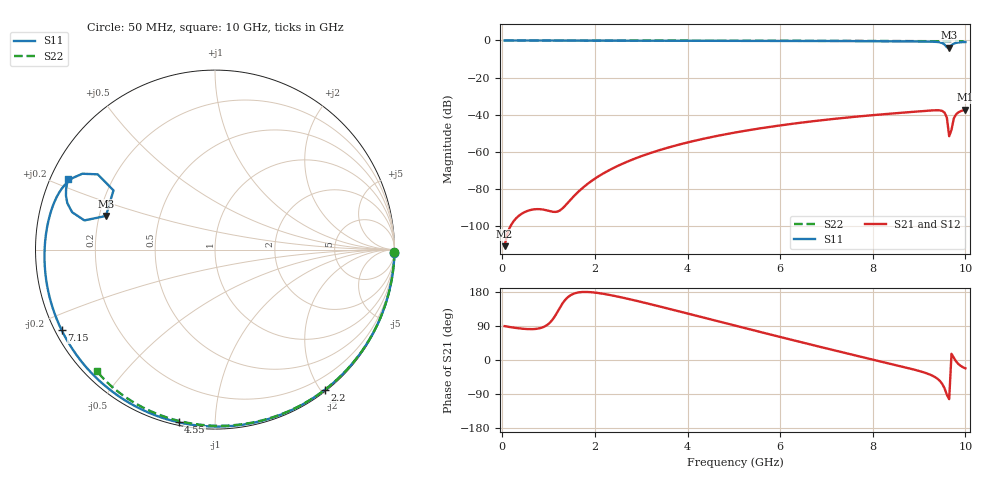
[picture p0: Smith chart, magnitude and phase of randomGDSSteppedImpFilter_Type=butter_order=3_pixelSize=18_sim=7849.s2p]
! freq	dB(S11)	phase(S11)	dB(S12)	phase(S12)
!  dB(S21)	phase(S21)	dB(S22)	phase(S22)
!S-par simulation data
#  GHz  S  DB  R 50
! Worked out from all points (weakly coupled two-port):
!   200 points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, 50 MHz to 10 GHz, reference 50 ohm
!   highest |S21| = -37.33 dB at 10 GHz (marker M1); lowest = -110.9 dB at 50 MHz (marker M2)
!   lowest |S11| = -3.9 dB at 9.65 GHz (marker M3), VSWR 4.50, Z = 11.4 + j7.15 ohm
!   |S11| at or under -10 dB: nowhere
!   |S22| runs from -0.5 to 0.0 dB; largest |S21 - S12| = 0
!   S11 on the Smith chart (normalised r, x): 50 MHz: 0, -94; 2.2 GHz: 0.02, -2.05; 4.55 GHz: 0.01, -0.81; 7.15 GHz: 0.02, -0.25; 10 GHz: 0.05, +0.23
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0.05  -0.00 -1.2  -110.87 89.3  -110.87 89.3  -0.00 -0.8
0.85  -0.03 -20.5  -91.04 85.2  -91.04 85.2  -0.02 -13.0
1.7  -0.05 -40.5  -80.23 179.1  -80.23 179.1  -0.03 -25.8
1.75  -0.05 -41.7  -79.15 179.5  -79.15 179.5  -0.03 -26.5
2.2  -0.07 -51.9  -71.40 174.3  -71.40 174.3  -0.04 -33.2
2.75  -0.08 -64.2  -64.80 160.4  -64.80 160.4  -0.05 -41.2
3.4  -0.10 -78.2  -59.07 141.2  -59.07 141.2  -0.07 -50.5
4.55  -0.15 -101.9  -51.90 105.6  -51.90 105.6  -0.10 -66.3
5.05  -0.17 -111.8  -49.52 90.0  -49.52 90.0  -0.11 -73.0
6.7  -0.27 -143.6  -43.56 39.6  -43.56 39.6  -0.18 -94.1
7.15  -0.31 -152.3  -42.30 26.1  -42.30 26.1  -0.21 -99.7
8.35  -0.43 -176.3  -39.52 -9.1  -39.52 -9.1  -0.29 -114.0
9.2  -0.60 163.4  -37.83 -36.8  -37.83 -36.8  -0.37 -124.1
9.4  -0.84 156.0  -37.61 -49.7  -37.61 -49.7  -0.39 -126.5
9.5  -1.39 150.3  -37.99 -63.1  -37.99 -63.1  -0.40 -127.7
9.55  -2.20 147.3  -38.89 -74.7  -38.89 -74.7  -0.41 -128.3
9.6  -3.68 149.8  -41.62 -91.9  -41.62 -91.9  -0.42 -128.9
9.65  -3.93 162.9  -51.60 -103.3  -51.60 -103.3  -0.43 -129.5
9.7  -2.55 167.4  -48.18 16.4  -48.18 16.4  -0.43 -130.2
9.75  -1.70 165.3  -42.01 5.8  -42.01 5.8  -0.44 -130.8
9.8  -1.29 162.6  -39.82 -3.9  -39.82 -3.9  -0.45 -131.4
10  -0.85 154.2  -37.33 -22.0  -37.33 -22.0  -0.51 -134.2
